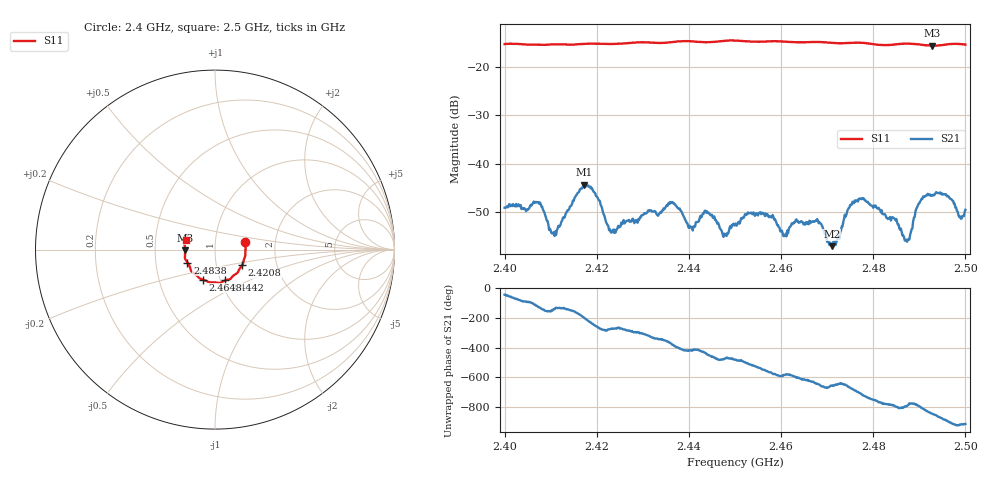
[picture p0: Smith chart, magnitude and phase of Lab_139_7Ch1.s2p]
# Hz S RI R 50
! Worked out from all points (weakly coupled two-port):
!   601 points, 2.4 GHz to 2.5 GHz, reference 50 ohm
!   highest |S21| = -44.36 dB at 2.4173 GHz (marker M1); lowest = -57.1 dB at 2.471 GHz (marker M2)
!   lowest |S11| = -15.6 dB at 2.4928 GHz (marker M3), VSWR 1.40, Z = 35.8 - j0.339 ohm
!   |S11| at or under -10 dB: start of sweep to end of sweep
!   S12 and S22 are empty: the file has one direction only
!   S11 on the Smith chart (normalised r, x): 2.4 GHz: 1.40, +0.12; 2.4208 GHz: 1.33, -0.24; 2.4442 GHz: 1.05, -0.37; 2.4648 GHz: 0.83, -0.29; 2.4838 GHz: 0.73, -0.11; 2.5 GHz: 0.72, +0.08
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2.4e9  0.1674 0.0411  0.0025 -0.00243  0 0  0 0
2.407333e9  0.1691 -0.0122  -0.00244 -0.00315  0 0  0 0
2.410667e9  0.1689 -0.0313  -0.0015 -0.00125  0 0  0 0
2.416667e9  0.1589 -0.0681  -0.00546 0.000533  0 0  0 0
2.417333e9  0.1577 -0.0724  -0.00563 0.00223  0 0  0 0
2.420833e9  0.1505 -0.0871  0.000198 0.00375  0 0  0 0
2.4235e9  0.1416 -0.0994  0.000153 0.00206  0 0  0 0
2.433333e9  0.108 -0.1404  0.00276 0.000836  0 0  0 0
2.4405e9  0.0798 -0.1662  0.00118 -0.00182  0 0  0 0
2.444167e9  0.0567 -0.1713  2.14e-05 -0.00312  0 0  0 0
2.447667e9  0.0343 -0.1832  -0.000764 -0.00172  0 0  0 0
2.45e9  0.0245 -0.186  -0.00119 -0.00198  0 0  0 0
2.464833e9  -0.0684 -0.1667  -0.000648 0.00227  0 0  0 0
2.466667e9  -0.0798 -0.1627  -0.000109 0.00248  0 0  0 0
2.471e9  -0.0968 -0.1488  0.000613 0.00126  0 0  0 0
2.4765e9  -0.1299 -0.1221  0.00379 0.00163  0 0  0 0
2.483333e9  -0.1505 -0.076  0.00136 -0.00234  0 0  0 0
2.483833e9  -0.1532 -0.072  0.00112 -0.00231  0 0  0 0
2.487333e9  -0.1669 -0.0511  0.000512 -0.00146  0 0  0 0
2.49e9  -0.1674 -0.0357  0.000991 -0.00375  0 0  0 0
2.492833e9  -0.1659 -0.00461  -0.00269 -0.0038  0 0  0 0
2.5e9  -0.1622 0.0529  -0.00323 0.000786  0 0  0 0
